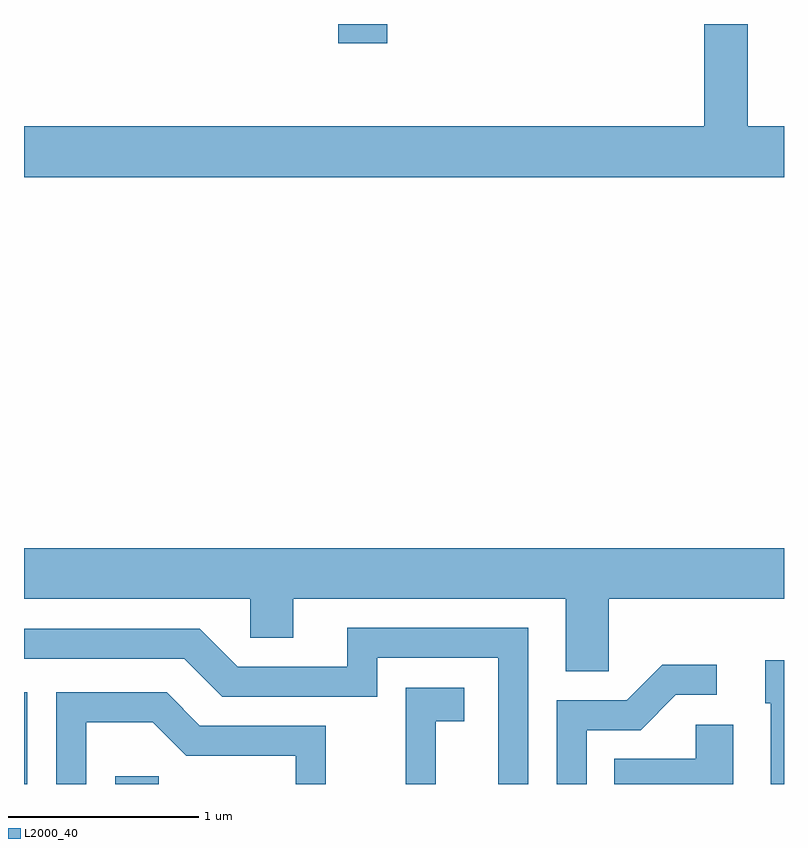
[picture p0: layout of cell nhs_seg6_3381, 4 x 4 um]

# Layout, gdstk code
import gdstk
lib = gdstk.Library(unit=1e-6, precision=1e-09)
def R(c, l, rs):  # rectangles x0, y0, x1, y1
    for r in rs: c.add(gdstk.rectangle(r[:2], r[2:], *l))
def P(c, l, *ps):  # polygons
    for p in ps: c.add(gdstk.Polygon(p, *l))
L2000_40 = (2000, 40)

nhs_seg6_3381 = lib.new_cell('nhs_seg6_3381')
R(nhs_seg6_3381, L2000_40, [(287.611,1560.162,287.629,1560.644), (288.091,1560.162,288.319,1560.204), (289.266,1564.061,289.524,1564.162)])
P(nhs_seg6_3381, L2000_40, [(291.611,1563.624),(291.419,1563.624),(291.419,1564.162),(291.191,1564.162),(291.191,1563.624),(287.611,1563.624),(287.611,1563.356),(291.611,1563.356)],
  [(290.689,1561.136),(291.611,1561.136),(291.611,1561.404),(287.611,1561.404),(287.611,1561.136),(288.801,1561.136),(288.801,1560.931),(289.029,1560.931),(289.029,1561.136),(290.461,1561.136),(290.461,1560.756),(290.689,1560.756)],
  [(290.264,1560.984),(289.311,1560.984),(289.311,1560.779),(288.737,1560.779),(288.537,1560.979),(287.611,1560.979),(287.611,1560.821),(288.454,1560.821),(288.654,1560.621),(289.469,1560.621),(289.469,1560.826),(290.106,1560.826),(290.106,1560.162),(290.264,1560.162)],
  [(291.611,1560.814),(291.511,1560.814),(291.511,1560.586),(291.541,1560.586),(291.541,1560.162),(291.611,1560.162)],
  [(290.574,1560.446),(290.857,1560.446),(291.042,1560.631),(291.258,1560.631),(291.258,1560.789),(290.969,1560.789),(290.784,1560.604),(290.416,1560.604),(290.416,1560.162),(290.574,1560.162)],
  [(289.779,1560.491),(289.929,1560.491),(289.929,1560.669),(289.621,1560.669),(289.621,1560.162),(289.779,1560.162)],
  [(287.939,1560.486),(288.289,1560.486),(288.464,1560.311),(289.041,1560.311),(289.041,1560.162),(289.199,1560.162),(289.199,1560.469),(288.537,1560.469),(288.362,1560.644),(287.781,1560.644),(287.781,1560.162),(287.939,1560.162)],
  [(291.344,1560.474),(291.146,1560.474),(291.146,1560.294),(290.718,1560.294),(290.718,1560.162),(291.344,1560.162)])

lib.write_gds('nhs_seg6_3381.gds')
